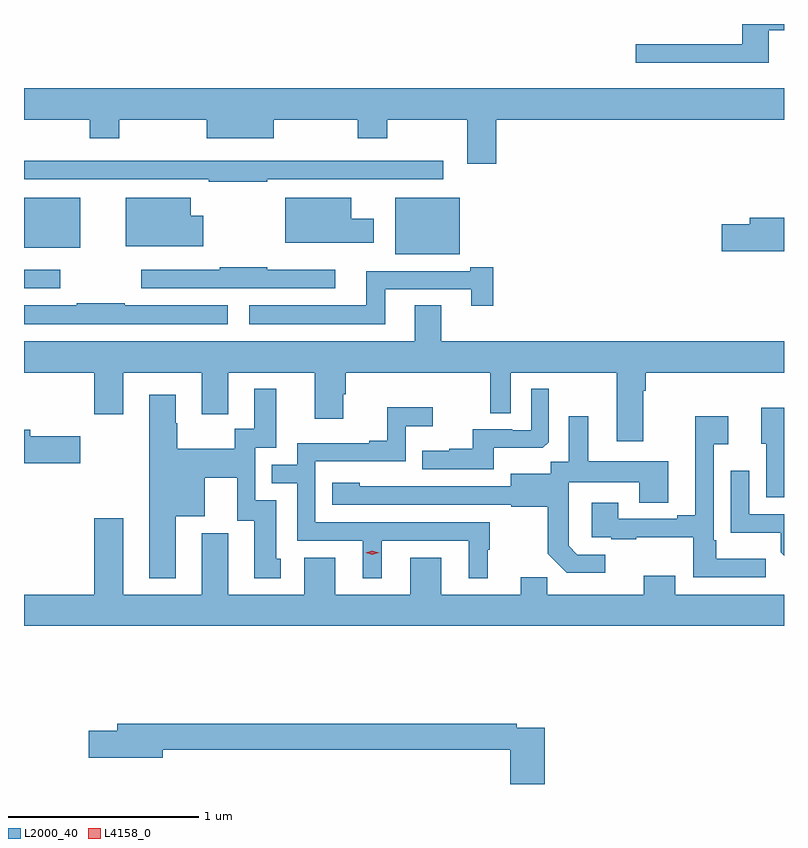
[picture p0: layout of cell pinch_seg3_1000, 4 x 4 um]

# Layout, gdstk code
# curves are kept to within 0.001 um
import gdstk
lib = gdstk.Library(unit=1e-6, precision=1e-09)
def R(c, l, rs):  # rectangles x0, y0, x1, y1
    for r in rs: c.add(gdstk.rectangle(r[:2], r[2:], *l))
def P(c, l, *ps):  # polygons
    for p in ps: c.add(gdstk.Polygon(p, *l))
L2000_40 = (2000, 40)
L4158_0 = (4158, 0)

pinch_seg3_1000 = lib.new_cell('pinch_seg3_1000')
R(pinch_seg3_1000, L2000_40, [(411.636,700.029,411.826,700.125), (413.591,700.208,413.929,700.504), (411.636,700.241,411.931,700.504)])
P(pinch_seg3_1000, L2000_40, [(415.555,701.385),(415.636,701.385),(415.636,701.419),(415.415,701.419),(415.415,701.313),(414.855,701.313),(414.855,701.216),(415.555,701.216)],
  [(414.122,700.916),(415.636,700.916),(415.636,701.08),(411.636,701.08),(411.636,700.916),(411.982,700.916),(411.982,700.817),(412.137,700.817),(412.137,700.916),(412.598,700.916),(412.598,700.817),(412.951,700.817),(412.951,700.916),(413.392,700.916),(413.392,700.817),(413.547,700.817),(413.547,700.916),(413.969,700.916),(413.969,700.683),(414.122,700.683)],
  [(412.916,700.602),(413.842,700.602),(413.842,700.698),(413.303,700.698),(413.303,700.7),(413.047,700.7),(413.047,700.698),(412.502,700.698),(412.502,700.7),(412.225,700.7),(412.225,700.698),(411.893,700.698),(411.893,700.7),(411.637,700.7),(411.637,700.698),(411.636,700.698),(411.636,700.602),(412.609,700.602),(412.609,700.59),(412.916,700.59)],
  [(412.579,700.411),(412.513,700.411),(412.513,700.504),(412.172,700.504),(412.172,700.25),(412.579,700.25)],
  [(413.476,700.393),(413.359,700.393),(413.359,700.504),(413.012,700.504),(413.012,700.268),(413.476,700.268)],
  [(415.636,700.4),(415.457,700.4),(415.457,700.364),(415.308,700.364),(415.308,700.222),(415.636,700.222)],
  [(413.536,700.023),(413.99,700.023),(413.99,699.936),(414.107,699.936),(414.107,700.139),(413.984,700.139),(413.984,700.119),(413.438,700.119),(413.438,699.94),(412.821,699.94),(412.821,699.839),(413.536,699.839)],
  [(413.275,700.126),(412.916,700.126),(412.916,700.138),(412.666,700.138),(412.666,700.125),(412.254,700.125),(412.254,700.029),(413.275,700.029)],
  [(412.708,699.94),(412.166,699.94),(412.166,699.95),(411.913,699.95),(411.913,699.94),(411.636,699.94),(411.636,699.839),(412.708,699.839)],
  [(413.833,699.938),(413.693,699.938),(413.693,699.748),(411.636,699.748),(411.636,699.584),(412.007,699.584),(412.007,699.366),(412.159,699.366),(412.159,699.584),(412.571,699.584),(412.571,699.366),(412.711,699.366),(412.711,699.584),(413.165,699.584),(413.165,699.342),(413.317,699.342),(413.317,699.471),(413.33,699.471),(413.33,699.584),(414.09,699.584),(414.09,699.37),(414.198,699.37),(414.198,699.584),(414.755,699.584),(414.755,699.222),(414.895,699.222),(414.895,699.488),(414.908,699.488),(414.908,699.584),(415.636,699.584),(415.636,699.748),(413.833,699.748)],
  [(414.109,699.188),(414.367,699.188),(414.399,699.219),(414.399,699.499),(414.306,699.499),(414.306,699.282),(414.206,699.282),(414.206,699.285),(413.999,699.285),(413.999,699.184),(413.875,699.184),(413.875,699.172),(413.731,699.172),(413.731,699.075),(414.109,699.075)],
  [(412.435,698.828),(412.588,698.828),(412.588,699.032),(412.758,699.032),(412.758,698.805),(412.847,698.805),(412.847,698.502),(412.987,698.502),(412.987,698.604),(412.963,698.604),(412.963,698.913),(412.854,698.913),(412.854,699.189),(412.963,699.189),(412.963,699.499),(412.847,699.499),(412.847,699.29),(412.746,699.29),(412.746,699.184),(412.443,699.184),(412.443,699.318),(412.435,699.318),(412.435,699.469),(412.295,699.469),(412.295,698.501),(412.435,698.501)],
  [(413.518,698.7),(413.978,698.7),(413.978,698.501),(414.076,698.501),(414.076,698.652),(414.088,698.652),(414.088,698.796),(413.169,698.796),(413.169,699.117),(413.646,699.117),(413.646,699.302),(413.788,699.302),(413.788,699.401),(413.548,699.401),(413.548,699.226),(413.453,699.226),(413.453,699.213),(413.073,699.213),(413.073,699.099),(412.939,699.099),(412.939,699.003),(413.073,699.003),(413.073,698.7),(413.42,698.7),(413.42,698.501),(413.518,698.501)],
  [(415.636,699.398),(415.517,699.398),(415.517,699.21),(415.542,699.21),(415.542,698.928),(415.636,698.928)],
  [(415.54,698.605),(415.279,698.605),(415.279,698.701),(415.266,698.701),(415.266,699.206),(415.342,699.206),(415.342,699.355),(415.169,699.355),(415.169,698.833),(415.073,698.833),(415.073,698.814),(414.763,698.814),(414.763,698.899),(414.623,698.899),(414.623,698.718),(414.727,698.718),(414.727,698.706),(414.859,698.706),(414.859,698.717),(415.158,698.717),(415.158,698.508),(415.54,698.508)],
  [(414.694,698.625),(414.549,698.625),(414.502,698.672),(414.502,698.767),(414.504,698.767),(414.504,699.008),(414.875,699.008),(414.875,698.899),(415.027,698.899),(415.027,699.118),(414.607,699.118),(414.607,699.355),(414.503,699.355),(414.503,699.116),(414.408,699.116),(414.408,699.052),(414.197,699.052),(414.197,698.985),(413.403,698.986),(413.403,699.004),(413.259,699.004),(413.259,698.889),(414.201,698.889),(414.201,698.877),(414.393,698.877),(414.393,698.631),(414.493,698.531),(414.694,698.531)],
  [(411.931,699.249),(411.67,699.249),(411.67,699.283),(411.636,699.283),(411.636,699.107),(411.931,699.107)],
  [(415.636,698.838),(415.452,698.838),(415.452,699.067),(415.356,699.067),(415.356,698.741),(415.618,698.741),(415.618,698.639),(415.636,698.621)],
  [(415.636,698.416),(415.063,698.416),(415.063,698.515),(414.899,698.515),(414.899,698.416),(414.389,698.416),(414.389,698.507),(414.251,698.507),(414.251,698.416),(413.833,698.416),(413.833,698.611),(413.669,698.611),(413.669,698.416),(413.275,698.416),(413.275,698.611),(413.111,698.611),(413.111,698.416),(412.711,698.416),(412.711,698.74),(412.571,698.74),(412.571,698.416),(412.159,698.416),(412.159,698.818),(412.007,698.818),(412.007,698.416),(411.636,698.416),(411.636,698.252),(415.636,698.252)],
  [(414.377,697.716),(414.23,697.716),(414.23,697.736),(412.127,697.736),(412.127,697.7),(411.978,697.7),(411.978,697.558),(412.366,697.558),(412.366,697.6),(414.194,697.6),(414.194,697.419),(414.377,697.419)])
P(pinch_seg3_1000, L4158_0, [(413.469,698.626),(413.434,698.636),(413.433,698.636),(413.434,698.636),(413.469,698.646),(413.504,698.636),(413.505,698.636),(413.504,698.636)])

lib.write_gds('pinch_seg3_1000.gds')
